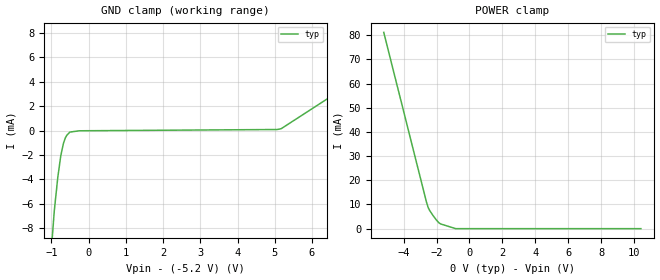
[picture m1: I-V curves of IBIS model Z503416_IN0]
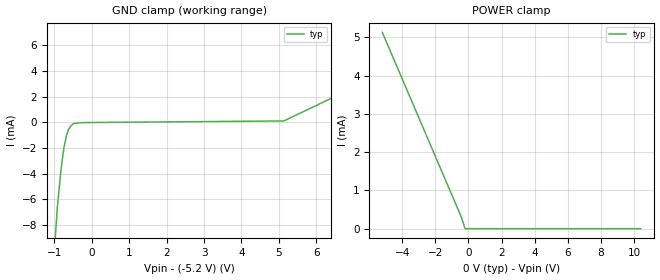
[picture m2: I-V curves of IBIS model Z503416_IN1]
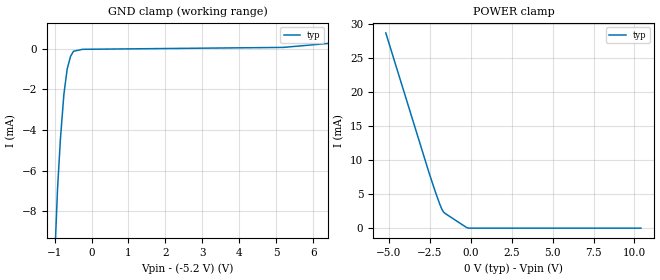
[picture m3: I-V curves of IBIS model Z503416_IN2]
| YOU ARE ONLY AUTHORIZED TO USE THIS SOFTWARE
| ACCORDING TO LICENSOR'S LICENSE RESTRICTIONS.
[IBIS Ver] 3.1
[File Name] mc10e175fn.ibs
[File Rev] 2.0
[Source] Measured and created by ICX Technology
[Date] Friday 7/14/00 9:07:49 AM
[Copyright]
| (C) COPYRIGHT 1993-2000
| MENTOR GRAPHICS CORPORATION
| ICX STANDARD LIBRARY, ICX PROJECT MODELING,
| ICX CUSTOM MODELING, ICX VENDOR MODEL
| ALL RIGHTS RESERVED.
| THE FOLLOWING ARE TRADEMARKS OR SERVICE MARKS OF
| MENTOR GRAPHICS CORPORATION:ICX (R), ICX STANDARD
| LIBRARY(R), ICX PROJECT MODELING(R), ICX CUSTOM
| MODELING(R), qualityIBIS(TM), MODELVIEWER(TM),
| AND MODELEDITOR(TM)
| ALL COPIES OF SOFTWARE, INCLUDING BUT NOT LIMITED TO
| ANY MODIFICATIONS, ENHANCEMENTS OR DERIVATIVE WORKS,
| MUST CONTAIN ALL MENTOR GRAPHICS CORPORATION'S
| NOTICES AND LEGENDS, INCLUDING THOSE EMBEDDED IN
| SOFTWARE AND THOSE AFFIXED TO SOFTWARE MEDIUM
| AND CONTAINER, AS RECEIVED FROM MENTOR GRAPHICS
| CORPORATION.
|  ZAP Model Builder 2.7
[Component] MC10E175FN
[Manufacturer] OnSemiconductor
[Package]
| variable   typ   min   max
R_pkg  .083ohms NA NA
L_pkg  4.299nH NA NA
C_pkg  1.045pF NA NA
[Pin] signal_name  model_name  R_pin  L_pin C_pin
1 VEE POWER .08 3.94n .925p
2 LEN Z503416_IN0 .082 4.14n .995p
3 MR Z503416_IN1 .084 4.354n 1.065p
4 D2 Z503416_IN2 .086 4.583n 1.135p
5 D1 Z503416_IN2 .086 4.583n 1.135p
6 D0 Z503416_IN2 .084 4.354n 1.065p
7 VCCO POWER .082 4.14n .995p
8 ODDPAR Z503416_OUT0 .08 3.94n .925p
9 Q0 Z503416_OUT1 .082 4.14n .995p
10 VCCO POWER .084 4.354n 1.065p
11 Q1 Z503416_OUT1 .086 4.583n 1.135p
12 Q2 Z503416_OUT1 .086 4.583n 1.135p
13 VCCO POWER .084 4.354n 1.065p
14 Q3 Z503416_OUT1 .082 4.14n .995p
15 Q4 Z503416_OUT1 .08 3.94n .925p
16 VCC POWER .082 4.14n .995p
17 Q5 Z503416_OUT1 .084 4.354n 1.065p
18 Q6 Z503416_OUT1 .086 4.583n 1.135p
19 VCCO POWER .086 4.583n 1.135p
20 Q7 Z503416_OUT1 .084 4.354n 1.065p
21 Q8 Z503416_OUT1 .082 4.14n .995p
22 VCCO POWER .08 3.94n .925p
23 D8 Z503416_IN2 .082 4.14n .995p
24 D7 Z503416_IN2 .084 4.354n 1.065p
25 D6 Z503416_IN2 .086 4.583n 1.135p
26 D5 Z503416_IN2 .086 4.583n 1.135p
27 D4 Z503416_IN2 .084 4.354n 1.065p
28 D3 Z503416_IN2 .082 4.14n .995p
| Models and submodels in the file (5): Z503416_IN0 (Input_ECL), Z503416_IN1 (Input_ECL), Z503416_IN2 (Input_ECL), Z503416_OUT0 (Output_ECL), Z503416_OUT1 (Output_ECL)
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| (C) COPYRIGHT 1993-2000
| MENTOR GRAPHICS CORPORATION
| ICX STANDARD LIBRARY, ICX PROJECT MODELING,
| ICX CUSTOM MODELING, ICX VENDOR MODEL
| ALL RIGHTS RESERVED.
| THE FOLLOWING ARE TRADEMARKS OR SERVICE MARKS OF
| MENTOR GRAPHICS CORPORATION:ICX (R), ICX STANDARD
| LIBRARY(R), ICX PROJECT MODELING(R), ICX CUSTOM
| MODELING(R), qualityIBIS(TM), MODELVIEWER(TM),
| AND MODELEDITOR(TM)
| ALL COPIES OF SOFTWARE, INCLUDING BUT NOT LIMITED TO
| ANY MODIFICATIONS, ENHANCEMENTS OR DERIVATIVE WORKS,
| MUST CONTAIN ALL MENTOR GRAPHICS CORPORATION'S
| NOTICES AND LEGENDS, INCLUDING THOSE EMBEDDED IN
| SOFTWARE AND THOSE AFFIXED TO SOFTWARE MEDIUM
| AND CONTAINER, AS RECEIVED FROM MENTOR GRAPHICS
| CORPORATION.
| Model Application Version 1.89 2/18/99.
[Model] Z503416_IN0
Model_type Input_ECL
Vinl = -1.480V
Vinh = -1.130V
C_comp 4.000pF NA NA
| variable typ   min   max
[Voltage Range] -5.200V NA NA
[GND Clamp Reference] -5.200V NA NA
[POWER Clamp Reference] 0.000V NA NA
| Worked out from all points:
|   GND clamp passes 1 mA (typ) near -0.67 V on its own axis
[GND Clamp]
-5.2V     -234.7mA   NA         NA
-1.108V   -13.94mA   NA         NA
-923mV    -6.527mA   NA         NA
-830mV    -3.824mA   NA         NA
-750mV    -2.069mA   NA         NA
-679mV    -1.051mA   NA         NA
-625mV    -585.9uA   NA         NA
-506mV    -129.2uA   NA         NA
-253mV    -20.86uA   NA         NA
5.068V    83.57uA    NA         NA
5.171V    147uA      NA         NA
10.4V     10.44mA    NA         NA
[POWER Clamp]
-5.2V     81.13mA    NA         NA
-2.615V   11.13mA    NA         NA
-2.505V   8.717mA    NA         NA
-2.416V   7.522mA    NA         NA
-2.222V   5.544mA    NA         NA
-2.024V   3.724mA    NA         NA
-1.86V    2.449mA    NA         NA
-1.75V    1.944mA    NA         NA
-1.67V    1.78mA     NA         NA
-835mV    0A         NA         NA
10.4V     0A         NA         NA
| (C) COPYRIGHT 1993-2000
| MENTOR GRAPHICS CORPORATION
| ICX STANDARD LIBRARY, ICX PROJECT MODELING,
| ICX CUSTOM MODELING, ICX VENDOR MODEL
| ALL RIGHTS RESERVED.
| THE FOLLOWING ARE TRADEMARKS OR SERVICE MARKS OF
| MENTOR GRAPHICS CORPORATION:ICX (R), ICX STANDARD
| LIBRARY(R), ICX PROJECT MODELING(R), ICX CUSTOM
| MODELING(R), qualityIBIS(TM), MODELVIEWER(TM),
| AND MODELEDITOR(TM)
| ALL COPIES OF SOFTWARE, INCLUDING BUT NOT LIMITED TO
| ANY MODIFICATIONS, ENHANCEMENTS OR DERIVATIVE WORKS,
| MUST CONTAIN ALL MENTOR GRAPHICS CORPORATION'S
| NOTICES AND LEGENDS, INCLUDING THOSE EMBEDDED IN
| SOFTWARE AND THOSE AFFIXED TO SOFTWARE MEDIUM
| AND CONTAINER, AS RECEIVED FROM MENTOR GRAPHICS
| CORPORATION.
| Model Application Version 1.89 2/18/99.
[Model] Z503416_IN1
Model_type Input_ECL
Vinl = -1.480V
Vinh = -1.130V
C_comp 4.000pF NA NA
| variable typ   min   max
[Voltage Range] -5.200V NA NA
[GND Clamp Reference] -5.200V NA NA
[POWER Clamp Reference] 0.000V NA NA
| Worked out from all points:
|   GND clamp passes 1 mA (typ) near -0.67 V on its own axis
[GND Clamp]
-5.2V     -261.1mA   NA         NA
-1.074V   -13.26mA   NA         NA
-923mV    -6.693mA   NA         NA
-830mV    -3.867mA   NA         NA
-750mV    -2.068mA   NA         NA
-679mV    -1.044mA   NA         NA
-625mV    -580.5uA   NA         NA
-567mV    -294.4uA   NA         NA
-488mV    -90.87uA   NA         NA
-244mV    -17.73uA   NA         NA
5.132V    111.6uA    NA         NA
10.4V     7.428mA    NA         NA
[POWER Clamp]
-5.2V     5.127mA    NA         NA
-419.6mV  289.7uA    NA         NA
-209.8mV  0A         NA         NA
10.4V     0A         NA         NA
| (C) COPYRIGHT 1993-2000
| MENTOR GRAPHICS CORPORATION
| ICX STANDARD LIBRARY, ICX PROJECT MODELING,
| ICX CUSTOM MODELING, ICX VENDOR MODEL
| ALL RIGHTS RESERVED.
| THE FOLLOWING ARE TRADEMARKS OR SERVICE MARKS OF
| MENTOR GRAPHICS CORPORATION:ICX (R), ICX STANDARD
| LIBRARY(R), ICX PROJECT MODELING(R), ICX CUSTOM
| MODELING(R), qualityIBIS(TM), MODELVIEWER(TM),
| AND MODELEDITOR(TM)
| ALL COPIES OF SOFTWARE, INCLUDING BUT NOT LIMITED TO
| ANY MODIFICATIONS, ENHANCEMENTS OR DERIVATIVE WORKS,
| MUST CONTAIN ALL MENTOR GRAPHICS CORPORATION'S
| NOTICES AND LEGENDS, INCLUDING THOSE EMBEDDED IN
| SOFTWARE AND THOSE AFFIXED TO SOFTWARE MEDIUM
| AND CONTAINER, AS RECEIVED FROM MENTOR GRAPHICS
| CORPORATION.
| Model Application Version 1.89 2/18/99.
[Model] Z503416_IN2
Model_type Input_ECL
Vinl = -1.480V
Vinh = -1.130V
C_comp 4.000pF NA NA
| variable typ   min   max
[Voltage Range] -5.200V NA NA
[GND Clamp Reference] -5.200V NA NA
[POWER Clamp Reference] 0.000V NA NA
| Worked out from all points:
|   GND clamp passes 1 mA (typ) near -0.66 V on its own axis
[GND Clamp]
-5.2V     -279.8mA   NA         NA
-1.084V   -14.3mA    NA         NA
-920mV    -6.896mA   NA         NA
-843mV    -4.465mA   NA         NA
-748mV    -2.233mA   NA         NA
-659mV    -990.9uA   NA         NA
-567mV    -360.3uA   NA         NA
-487mV    -115.4uA   NA         NA
-243.5mV  -19.41uA   NA         NA
5.19V     74.68uA    NA         NA
10.4V     913.7uA    NA         NA
[POWER Clamp]
-5.2V     28.72mA    NA         NA
-2.558V   8.168mA    NA         NA
-2.168V   5.328mA    NA         NA
-1.904V   3.554mA    NA         NA
-1.775V   2.804mA    NA         NA
-1.714V   2.537mA    NA         NA
-1.64V    2.297mA    NA         NA
-1.563V   2.149mA    NA         NA
-266.8mV  105.8uA    NA         NA
-133.4mV  0A         NA         NA
10.4V     0A         NA         NA
